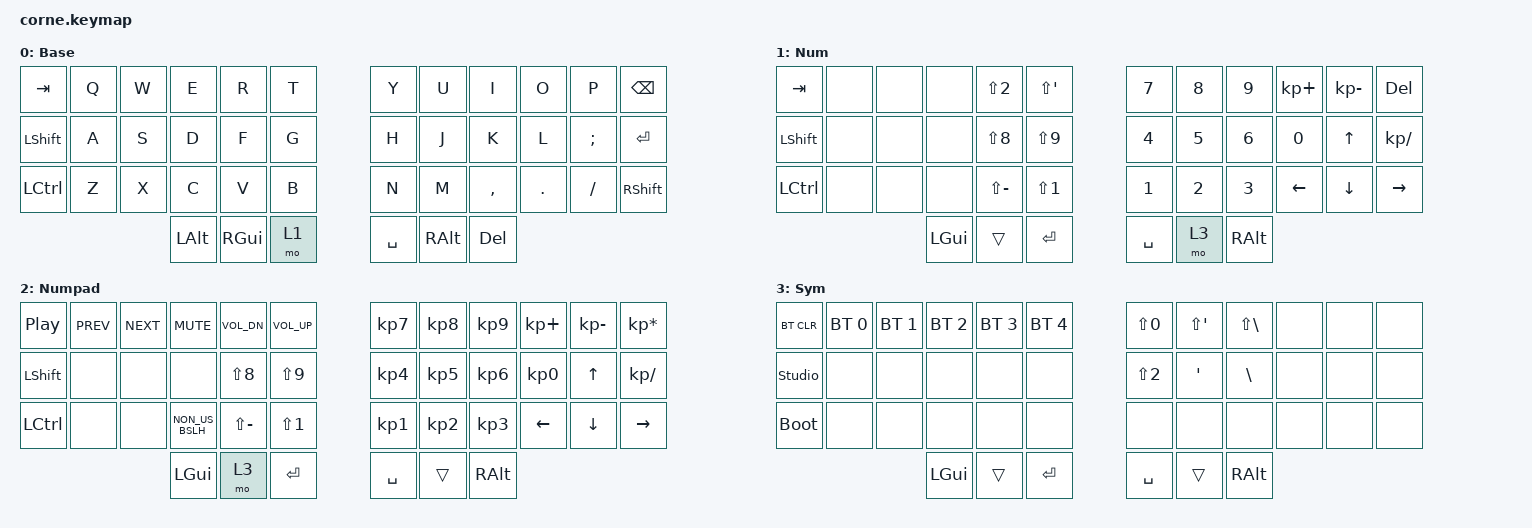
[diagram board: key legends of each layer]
#include <behaviors.dtsi>
#include <dt-bindings/zmk/bt.h>
#include <dt-bindings/zmk/keys.h>

// Generado desde crkbd.layout.json (VIA)

/ {
    keymap {
        compatible = "zmk,keymap";

        base_layer {
            display-name = "Base";
            bindings = <
&kp TAB    &kp Q      &kp W      &kp E      &kp R      &kp T      &kp Y      &kp U      &kp I      &kp O      &kp P      &kp BSPC
&kp LSHFT  &kp A      &kp S      &kp D      &kp F      &kp G      &kp H      &kp J      &kp K      &kp L      &kp SEMI   &kp RET
&kp LCTRL  &kp Z      &kp X      &kp C      &kp V      &kp B      &kp N      &kp M      &kp COMMA  &kp DOT    &kp FSLH   &kp RSHFT
                                 &kp LALT   &kp RGUI   &mo 1      &kp SPACE  &kp RALT   &kp DEL
            >;
        };

        num_layer {
            display-name = "Num";
            bindings = <
&kp TAB        &none          &none          &none          &kp LS(N2)     &kp LS(SQT)    &kp N7         &kp N8         &kp N9         &kp KP_PLUS    &kp KP_MINUS   &kp DEL
&kp LSHFT      &none          &none          &none          &kp LS(N8)     &kp LS(N9)     &kp N4         &kp N5         &kp N6         &kp N0         &kp UP         &kp KP_DIVIDE
&kp LCTRL      &none          &none          &none          &kp LS(MINUS)  &kp LS(N1)     &kp N1         &kp N2         &kp N3         &kp LEFT       &kp DOWN       &kp RIGHT
                                             &kp LGUI       &trans         &kp RET        &kp SPACE      &mo 3          &kp RALT
            >;
        };

        numpad_layer {
            display-name = "Numpad";
            bindings = <
&kp C_PP         &kp C_PREV       &kp C_NEXT       &kp C_MUTE       &kp C_VOL_DN     &kp C_VOL_UP     &kp KP_N7        &kp KP_N8        &kp KP_N9        &kp KP_PLUS      &kp KP_MINUS     &kp KP_MULTIPLY
&kp LSHFT        &none            &none            &none            &kp LS(N8)       &kp LS(N9)       &kp KP_N4        &kp KP_N5        &kp KP_N6        &kp KP_N0        &kp UP           &kp KP_DIVIDE
&kp LCTRL        &none            &none            &kp NON_US_BSLH  &kp LS(MINUS)    &kp LS(N1)       &kp KP_N1        &kp KP_N2        &kp KP_N3        &kp LEFT         &kp DOWN         &kp RIGHT
                                                   &kp LGUI         &mo 3            &kp RET          &kp SPACE        &trans           &kp RALT
            >;
        };

        sym_layer {
            display-name = "Sym";
            bindings = <
&bt BT_CLR      &bt BT_SEL 0    &bt BT_SEL 1    &bt BT_SEL 2    &bt BT_SEL 3    &bt BT_SEL 4    &kp LS(N0)      &kp LS(SQT)     &kp LS(BSLH)    &none           &none           &none
&studio_unlock  &none           &none           &none           &none           &none           &kp LS(N2)      &kp SQT         &kp BSLH        &none           &none           &none
&bootloader     &none           &none           &none           &none           &none           &none           &none           &none           &none           &none           &none
                                                &kp LGUI        &trans          &kp RET         &kp SPACE       &trans          &kp RALT
            >;
        };
    };
};
